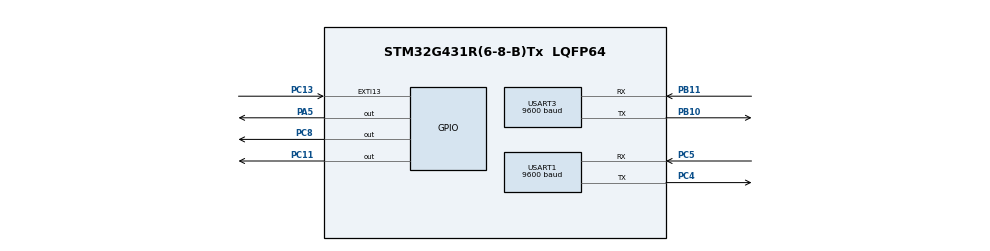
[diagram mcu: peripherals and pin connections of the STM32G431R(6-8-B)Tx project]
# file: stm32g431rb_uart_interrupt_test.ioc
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Dma.Request0=USART1_TX
Dma.Request1=USART3_TX
Dma.USART1_TX.0.Direction=DMA_MEMORY_TO_PERIPH
Dma.USART1_TX.0.EventEnable=DISABLE
Dma.USART1_TX.0.Instance=DMA1_Channel1
Dma.USART1_TX.0.MemDataAlignment=DMA_MDATAALIGN_BYTE
Dma.USART1_TX.0.MemInc=DMA_MINC_ENABLE
Dma.USART1_TX.0.Mode=DMA_CIRCULAR
Dma.USART1_TX.0.PeriphDataAlignment=DMA_PDATAALIGN_BYTE
Dma.USART1_TX.0.PeriphInc=DMA_PINC_DISABLE
Dma.USART1_TX.0.Polarity=HAL_DMAMUX_REQ_GEN_RISING
Dma.USART1_TX.0.Priority=DMA_PRIORITY_LOW
Dma.USART1_TX.0.RequestNumber=1
Dma.USART1_TX.0.SignalID=NONE
Dma.USART1_TX.0.SyncEnable=DISABLE
Dma.USART1_TX.0.SyncPolarity=HAL_DMAMUX_SYNC_NO_EVENT
Dma.USART1_TX.0.SyncRequestNumber=1
Dma.USART1_TX.0.SyncSignalID=NONE
Dma.USART3_TX.1.Direction=DMA_MEMORY_TO_PERIPH
Dma.USART3_TX.1.EventEnable=DISABLE
Dma.USART3_TX.1.Instance=DMA1_Channel2
Dma.USART3_TX.1.MemDataAlignment=DMA_MDATAALIGN_BYTE
Dma.USART3_TX.1.MemInc=DMA_MINC_ENABLE
Dma.USART3_TX.1.Mode=DMA_CIRCULAR
Dma.USART3_TX.1.PeriphDataAlignment=DMA_PDATAALIGN_BYTE
Dma.USART3_TX.1.PeriphInc=DMA_PINC_DISABLE
Dma.USART3_TX.1.Polarity=HAL_DMAMUX_REQ_GEN_RISING
Dma.USART3_TX.1.Priority=DMA_PRIORITY_LOW
Dma.USART3_TX.1.RequestNumber=1
Dma.USART3_TX.1.SignalID=NONE
Dma.USART3_TX.1.SyncEnable=DISABLE
Dma.USART3_TX.1.SyncPolarity=HAL_DMAMUX_SYNC_NO_EVENT
Dma.USART3_TX.1.SyncRequestNumber=1
Dma.USART3_TX.1.SyncSignalID=NONE
Mcu.Family=STM32G4
Mcu.Name=STM32G431R(6-8-B)Tx
Mcu.Package=LQFP64
NVIC.DMA1_Channel1_IRQn=true\:0\:0\:false\:false\:true\:false\:true
NVIC.DMA1_Channel2_IRQn=true\:0\:0\:false\:false\:true\:false\:true
NVIC.EXTI15_10_IRQn=true\:0\:0\:false\:false\:true\:true\:true
NVIC.PriorityGroup=NVIC_PRIORITYGROUP_4
NVIC.TIM1_UP_TIM16_IRQn=true\:0\:0\:false\:false\:true\:true\:true
NVIC.USART1_IRQn=true\:3\:0\:true\:false\:true\:true\:true
NVIC.USART3_IRQn=true\:3\:0\:true\:false\:true\:true\:true
NVIC.WWDG_IRQn=true\:0\:0\:false\:false\:true\:true\:true
PA5.Signal=GPIO_Output
PB10.Mode=Asynchronous
PB10.Signal=USART3_TX
PB11.Mode=Asynchronous
PB11.Signal=USART3_RX
PC11.Signal=GPIO_Output
PC13.Signal=GPXTI13
PC4.Mode=Asynchronous
PC4.Signal=USART1_TX
PC5.Mode=Asynchronous
PC5.Signal=USART1_RX
PC8.Signal=GPIO_Output
ProjectManager.HeapSize=0x200
ProjectManager.StackSize=0x400
ProjectManager.TargetToolchain=MDK-ARM V5
RCC.ADC12Freq_Value=170000000
RCC.AHBFreq_Value=170000000
RCC.APB1Freq_Value=170000000
RCC.APB1TimFreq_Value=170000000
RCC.APB2Freq_Value=170000000
RCC.APB2TimFreq_Value=170000000
RCC.CortexFreq_Value=170000000
RCC.EXTERNAL_CLOCK_VALUE=12288000
RCC.HCLKFreq_Value=170000000
RCC.HSE_VALUE=8000000
RCC.HSI48_VALUE=48000000
RCC.HSI_VALUE=16000000
RCC.LSE_VALUE=32768
RCC.PLLM=RCC_PLLM_DIV4
RCC.PLLN=85
RCC.SYSCLKFreq_VALUE=170000000
RCC.SYSCLKSource=RCC_SYSCLKSOURCE_PLLCLK
RCC.USBFreq_Value=170000000
RCC.VCOOutputFreq_Value=340000000
TIM1.PeriodNoDither=20
USART1.BaudRate=9600
USART1.Parity=PARITY_EVEN
USART1.VirtualMode-Asynchronous=VM_ASYNC
USART1.WordLength=WORDLENGTH_9B
USART3.BaudRate=9600
USART3.Parity=PARITY_EVEN
USART3.VirtualMode-Asynchronous=VM_ASYNC
USART3.WordLength=WORDLENGTH_9B
VP_RTC_VS_RTC_Activate.Mode=RTC_Enabled
VP_SYS_VS_DBSignals.Mode=DisableDeadBatterySignals
VP_TIM1_VS_ClockSourceINT.Mode=Internal
VP_WWDG_VS_WWDG.Mode=WWDG_Activate
WWDG.Counter=0x7F
WWDG.EWIMode=WWDG_EWI_ENABLE
WWDG.Prescaler=WWDG_PRESCALER_64
WWDG.Window=0x7F
board=custom

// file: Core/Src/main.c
/* USER CODE BEGIN Header */
/**
  ******************************************************************************
  * @file           : main.c
  * @brief          : Main program body
  ******************************************************************************
  * @attention
  *
  * <h2><center>&copy; Copyright (c) 2021 STMicroelectronics.
  * All rights reserved.</center></h2>
  *
  * This software component is licensed by ST under BSD 3-Clause license,
  * the "License"; You may not use this file except in compliance with the
  * License. You may obtain a copy of the License at:
  *                        opensource.org/licenses/BSD-3-Clause
  *
  ******************************************************************************
  */
/* USER CODE END Header */
#include "main.h"
#include "dma.h"
#include "rtc.h"
#include "tim.h"
#include "usart.h"
#include "wwdg.h"
#include "gpio.h"

void SystemClock_Config(void);

/* USER CODE BEGIN 0 */
const uint8_t aTxBuffer[] = "STM32G4xx USART LL API Example : TX/RX in DMA mode\r\nConfiguration UART 9600 bps, 8 data bit/1 stop bit/No parity/No HW flow control\r\nPlease enter 'END' string ...\r\n";
const uint8_t aTxBuffer3[] = {0xAA, 0x00, 0x00, 0x00, 0x00, 0x00, 0x00, 0x00, 0x00, 0x00, 0x00, 0x00, 0x00, 0x00, 0x00, 0xBB};
uint8_t ubNbDataToTransmit = sizeof(aTxBuffer);
uint8_t ubNbDataToTransmit3 = sizeof(aTxBuffer3);

uint8_t button_pushed = 0;

/* USER CODE END 0 */

int main(void)
{

  /* MCU Configuration--------------------------------------------------------*/

  /* Reset of all peripherals, Initializes the Flash interface and the Systick. */

  LL_APB2_GRP1_EnableClock(LL_APB2_GRP1_PERIPH_SYSCFG);
  LL_APB1_GRP1_EnableClock(LL_APB1_GRP1_PERIPH_PWR);

  NVIC_SetPriorityGrouping(NVIC_PRIORITYGROUP_4);

  /* System interrupt init*/

  /** Disable the internal Pull-Up in Dead Battery pins of UCPD peripheral
  */
  LL_PWR_DisableUCPDDeadBattery();

  /* Configure the system clock */
  SystemClock_Config();

  /* Initialize all configured peripherals */
  MX_GPIO_Init();
  MX_DMA_Init();
  MX_TIM1_Init();
  MX_USART1_UART_Init();
  MX_WWDG_Init();
  MX_USART3_UART_Init();
  MX_RTC_Init();
  /* USER CODE BEGIN 2 */
	LL_RCC_ClearResetFlags();
  LL_DBGMCU_APB1_GRP1_FreezePeriph(LL_DBGMCU_APB1_GRP1_WWDG_STOP);
  LL_GPIO_ResetOutputPin(GPIOA, LL_GPIO_PIN_5);
  /* USER CODE END 2 */

  /* Infinite loop */
  /* USER CODE BEGIN WHILE */
  while (1)
  {
		LL_WWDG_SetCounter(WWDG, 0x7F);

		if(button_pushed == 1)
		{
			button_pushed = 0;

			LL_DMA_ConfigAddresses(DMA1, LL_DMA_CHANNEL_1,
                       (uint32_t)aTxBuffer,
                       LL_USART_DMA_GetRegAddr(USART1, LL_USART_DMA_REG_DATA_TRANSMIT),
                       LL_DMA_GetDataTransferDirection(DMA1, LL_DMA_CHANNEL_1));
      LL_DMA_SetDataLength(DMA1, LL_DMA_CHANNEL_1, ubNbDataToTransmit);
      LL_USART_EnableDMAReq_TX(USART1);
	    LL_DMA_EnableChannel(DMA1, LL_DMA_CHANNEL_1);
		}

		LL_DMA_ConfigAddresses(DMA1, LL_DMA_CHANNEL_2,
										 (uint32_t)aTxBuffer3,
										 LL_USART_DMA_GetRegAddr(USART3, LL_USART_DMA_REG_DATA_TRANSMIT),
										 LL_DMA_GetDataTransferDirection(DMA1, LL_DMA_CHANNEL_2));
		LL_DMA_SetDataLength(DMA1, LL_DMA_CHANNEL_2, ubNbDataToTransmit3);
		LL_USART_EnableDMAReq_TX(USART3);
		LL_DMA_EnableChannel(DMA1, LL_DMA_CHANNEL_2);

		LL_mDelay(3);
    /* USER CODE END WHILE */

  }
}

void SystemClock_Config(void)
{
  LL_FLASH_SetLatency(LL_FLASH_LATENCY_4);
  while(LL_FLASH_GetLatency() != LL_FLASH_LATENCY_4)
  {
  }
  LL_PWR_EnableRange1BoostMode();
  LL_RCC_HSI_Enable();
   /* Wait till HSI is ready */
  while(LL_RCC_HSI_IsReady() != 1)
  {
  }

  LL_RCC_HSI_SetCalibTrimming(64);
  LL_RCC_LSI_Enable();
   /* Wait till LSI is ready */
  while(LL_RCC_LSI_IsReady() != 1)
  {
  }

  LL_PWR_EnableBkUpAccess();
  LL_RCC_PLL_ConfigDomain_SYS(LL_RCC_PLLSOURCE_HSI, LL_RCC_PLLM_DIV_4, 85, LL_RCC_PLLR_DIV_2);
  LL_RCC_PLL_EnableDomain_SYS();
  LL_RCC_PLL_Enable();
   /* Wait till PLL is ready */
  while(LL_RCC_PLL_IsReady() != 1)
  {
  }

  LL_RCC_SetSysClkSource(LL_RCC_SYS_CLKSOURCE_PLL);
  LL_RCC_SetAHBPrescaler(LL_RCC_SYSCLK_DIV_2);
   /* Wait till System clock is ready */
  while(LL_RCC_GetSysClkSource() != LL_RCC_SYS_CLKSOURCE_STATUS_PLL)
  {
  }

  /* Insure 1?s transition state at intermediate medium speed clock based on DWT */
  CoreDebug->DEMCR |= CoreDebug_DEMCR_TRCENA_Msk;
  DWT->CTRL |= DWT_CTRL_CYCCNTENA_Msk;
  DWT->CYCCNT = 0;
  while(DWT->CYCCNT < 100);
  /* Set AHB prescaler*/
  LL_RCC_SetAHBPrescaler(LL_RCC_SYSCLK_DIV_1);
  LL_RCC_SetAPB1Prescaler(LL_RCC_APB1_DIV_1);
  LL_RCC_SetAPB2Prescaler(LL_RCC_APB2_DIV_1);

  LL_Init1msTick(170000000);

  LL_SetSystemCoreClock(170000000);
  if(LL_RCC_GetRTCClockSource() != LL_RCC_RTC_CLKSOURCE_LSI)
  {
    LL_RCC_ForceBackupDomainReset();
    LL_RCC_ReleaseBackupDomainReset();
    LL_RCC_SetRTCClockSource(LL_RCC_RTC_CLKSOURCE_LSI);
  }
  LL_RCC_EnableRTC();
  LL_RCC_SetUSARTClockSource(LL_RCC_USART1_CLKSOURCE_PCLK2);
  LL_RCC_SetUSARTClockSource(LL_RCC_USART3_CLKSOURCE_PCLK1);
}

void Error_Handler(void)
{
  __disable_irq();
  while (1)
  {
  }
}

/************************ (C) COPYRIGHT STMicroelectronics *****END OF FILE****/
